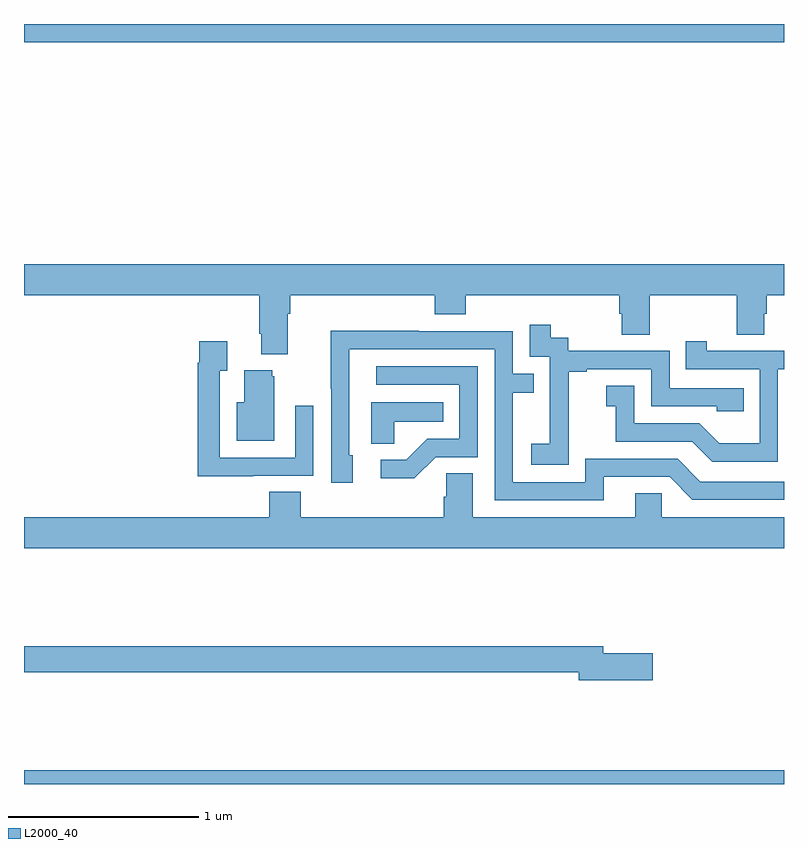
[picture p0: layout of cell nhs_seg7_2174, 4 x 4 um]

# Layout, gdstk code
import gdstk
lib = gdstk.Library(unit=1e-6, precision=1e-09)
def R(c, l, rs):  # rectangles x0, y0, x1, y1
    for r in rs: c.add(gdstk.rectangle(r[:2], r[2:], *l))
def P(c, l, *ps):  # polygons
    for p in ps: c.add(gdstk.Polygon(p, *l))
L2000_40 = (2000, 40)

nhs_seg7_2174 = lib.new_cell('nhs_seg7_2174')
R(nhs_seg7_2174, L2000_40, [(253,1042,257,1042.072), (253,1045.904,257,1046)])
P(nhs_seg7_2174, L2000_40, [(254.389,1044.476),(254.402,1044.476),(254.402,1044.572),(255.161,1044.572),(255.161,1044.473),(255.326,1044.473),(255.326,1044.572),(256.133,1044.572),(256.133,1044.474),(256.145,1044.474),(256.145,1044.364),(256.293,1044.364),(256.293,1044.572),(256.75,1044.572),(256.75,1044.364),(256.897,1044.364),(256.897,1044.474),(256.91,1044.474),(256.91,1044.572),(257,1044.572),(257,1044.736),(253,1044.736),(253,1044.572),(254.237,1044.572),(254.237,1044.37),(254.249,1044.37),(254.249,1044.263),(254.389,1044.263)],
  [(255.867,1043.887),(255.866,1043.887),(255.866,1044.171),(255.961,1044.171),(255.961,1044.183),(256.302,1044.183),(256.302,1043.988),(256.647,1043.988),(256.647,1043.961),(256.787,1043.961),(256.787,1044.084),(256.398,1044.084),(256.398,1044.279),(255.864,1044.279),(255.864,1044.348),(255.772,1044.348),(255.772,1044.418),(255.663,1044.418),(255.663,1044.249),(255.768,1044.249),(255.768,1044.02),(255.767,1044.02),(255.767,1043.791),(255.669,1043.791),(255.669,1043.681),(255.867,1043.681)],
  [(256.051,1043.616),(256.398,1043.616),(256.518,1043.496),(257,1043.496),(257,1043.592),(256.56,1043.592),(256.44,1043.712),(255.954,1043.712),(255.954,1043.589),(255.573,1043.589),(255.573,1044.058),(255.683,1044.058),(255.683,1044.159),(255.573,1044.159),(255.573,1044.384),(255.077,1044.384),(255.077,1044.386),(254.614,1044.386),(254.614,1044.079),(254.616,1044.079),(254.616,1043.586),(254.731,1043.586),(254.731,1043.73),(254.712,1043.73),(254.712,1044.288),(255.477,1044.288),(255.477,1043.493),(256.051,1043.493)],
  [(256.968,1044.183),(257,1044.183),(257,1044.279),(256.594,1044.279),(256.594,1044.331),(256.483,1044.331),(256.483,1044.183),(256.872,1044.183),(256.872,1043.794),(256.658,1043.794),(256.554,1043.898),(256.212,1043.898),(256.212,1044.097),(256.065,1044.097),(256.065,1043.987),(256.114,1043.987),(256.114,1043.802),(256.517,1043.802),(256.622,1043.697),(256.968,1043.697)],
  [(254.207,1043.622),(254.523,1043.622),(254.523,1043.992),(254.427,1043.992),(254.427,1043.718),(254.031,1043.718),(254.031,1044.175),(254.071,1044.175),(254.071,1044.331),(253.923,1044.331),(253.923,1044.218),(253.915,1044.218),(253.915,1043.621),(254.207,1043.621)],
  [(255.168,1043.721),(255.387,1043.721),(255.387,1044.198),(254.853,1044.198),(254.853,1044.102),(255.291,1044.102),(255.291,1043.817),(255.122,1043.817),(255.011,1043.706),(254.877,1043.706),(254.877,1043.609),(255.055,1043.609)],
  [(254.317,1044.147),(254.306,1044.147),(254.306,1044.178),(254.159,1044.178),(254.159,1044.01),(254.12,1044.01),(254.12,1043.807),(254.317,1043.807)],
  [(254.949,1043.906),(255.206,1043.906),(255.206,1044.01),(254.828,1044.01),(254.828,1043.791),(254.949,1043.791)],
  [(257,1043.404),(256.356,1043.404),(256.356,1043.531),(256.217,1043.531),(256.217,1043.404),(255.361,1043.404),(255.361,1043.636),(255.222,1043.636),(255.222,1043.513),(255.209,1043.513),(255.209,1043.404),(254.456,1043.404),(254.456,1043.537),(254.291,1043.537),(254.291,1043.404),(253,1043.404),(253,1043.24),(257,1043.24)],
  [(256.309,1042.688),(256.048,1042.688),(256.048,1042.724),(253,1042.724),(253,1042.588),(255.92,1042.588),(255.92,1042.546),(256.309,1042.546)])

lib.write_gds('nhs_seg7_2174.gds')
